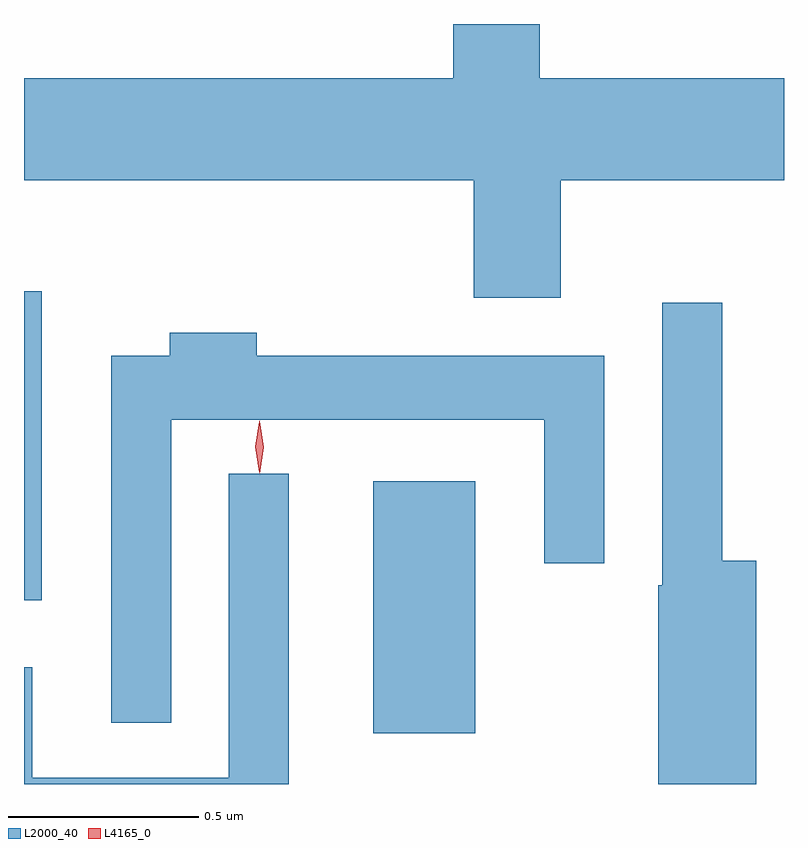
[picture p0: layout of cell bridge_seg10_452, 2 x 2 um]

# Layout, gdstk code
import gdstk
lib = gdstk.Library(unit=1e-6, precision=1e-09)
def R(c, l, rs):  # rectangles x0, y0, x1, y1
    for r in rs: c.add(gdstk.rectangle(r[:2], r[2:], *l))
def P(c, l, *ps):  # polygons
    for p in ps: c.add(gdstk.Polygon(p, *l))
L2000_40 = (2000, 40)
L4165_0 = (4165, 0)

bridge_seg10_452 = lib.new_cell('bridge_seg10_452')
R(bridge_seg10_452, L2000_40, [(1377.796,2092.481,1378.064,2093.144), (1376.877,2092.831,1376.924,2093.644)])
P(bridge_seg10_452, L2000_40, [(1378.289,2093.936),(1378.877,2093.936),(1378.877,2094.204),(1378.234,2094.204),(1378.234,2094.347),(1378.006,2094.347),(1378.006,2094.204),(1376.877,2094.204),(1376.877,2093.936),(1378.061,2093.936),(1378.061,2093.626),(1378.289,2093.626)],
  [(1378.804,2092.934),(1378.714,2092.934),(1378.714,2093.613),(1378.556,2093.613),(1378.556,2092.87),(1378.546,2092.87),(1378.546,2092.347),(1378.804,2092.347)],
  [(1377.264,2093.306),(1378.246,2093.306),(1378.246,2092.928),(1378.404,2092.928),(1378.404,2093.474),(1377.489,2093.474),(1377.489,2093.534),(1377.261,2093.534),(1377.261,2093.474),(1377.106,2093.474),(1377.106,2092.508),(1377.264,2092.508)],
  [(1377.574,2093.163),(1377.416,2093.163),(1377.416,2092.364),(1376.899,2092.364),(1376.899,2092.654),(1376.877,2092.654),(1376.877,2092.347),(1377.574,2092.347)])
P(bridge_seg10_452, L4165_0, [(1377.498,2093.163),(1377.497,2093.164),(1377.488,2093.233),(1377.497,2093.302),(1377.498,2093.303),(1377.498,2093.302),(1377.508,2093.233),(1377.498,2093.164)],
  [(1377.496,2093.167),(1377.496,2093.167),(1377.486,2093.234),(1377.496,2093.3),(1377.496,2093.301),(1377.497,2093.3),(1377.506,2093.234),(1377.497,2093.167)])

lib.write_gds('bridge_seg10_452.gds')
